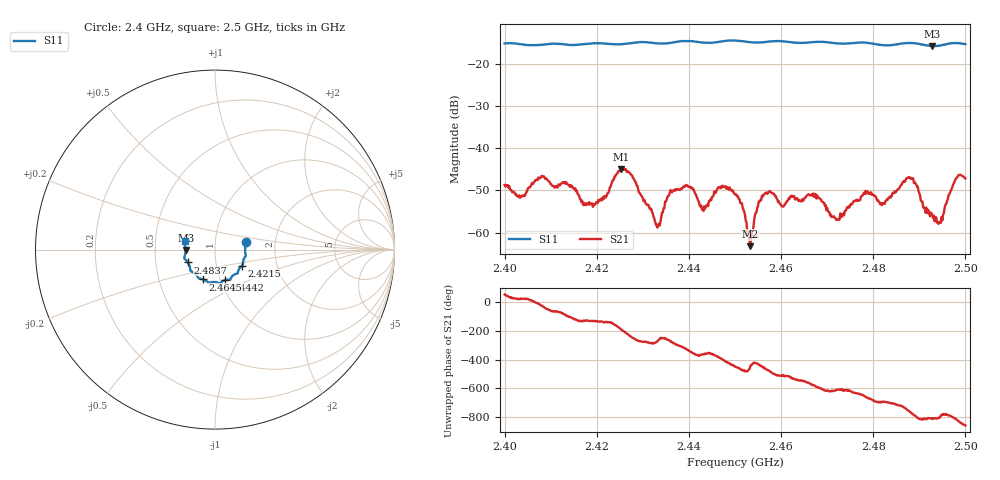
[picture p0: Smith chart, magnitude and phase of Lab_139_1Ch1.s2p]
# Hz S RI R 50
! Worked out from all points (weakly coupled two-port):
!   601 points, 2.4 GHz to 2.5 GHz, reference 50 ohm
!   highest |S21| = -44.90 dB at 2.4253 GHz (marker M1); lowest = -63.2 dB at 2.4533 GHz (marker M2)
!   lowest |S11| = -15.7 dB at 2.4928 GHz (marker M3), VSWR 1.39, Z = 36 - j0.369 ohm
!   |S11| at or under -10 dB: start of sweep to end of sweep
!   S12 and S22 are empty: the file has one direction only
!   S11 on the Smith chart (normalised r, x): 2.4 GHz: 1.41, +0.12; 2.4215 GHz: 1.33, -0.25; 2.4442 GHz: 1.05, -0.37; 2.4645 GHz: 0.83, -0.29; 2.4837 GHz: 0.73, -0.11; 2.5 GHz: 0.71, +0.07
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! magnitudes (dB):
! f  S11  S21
! 2.4 GHz  -15.1  -48.7
! 2.4038 GHz  -15.3  -51.4
! 2.4085 GHz  -15.4  -46.6
! 2.4167 GHz  -15.3  -52.8
! 2.4215 GHz  -15.1  -52.0
! 2.4253 GHz  -15.3  -44.9
! 2.4333 GHz  -15.1  -58.1
! 2.4365 GHz  -14.9  -50.2
! 2.4442 GHz  -15.0  -53.8
! 2.45 GHz  -14.4  -50.9
! 2.4533 GHz  -14.8  -63.2
! 2.4563 GHz  -14.8  -51.0
! 2.4645 GHz  -15.0  -52.6
! 2.4667 GHz  -14.8  -50.9
! 2.4722 GHz  -15.1  -57.0
! 2.4783 GHz  -14.9  -50.1
! 2.4833 GHz  -15.6  -51.8
! 2.4837 GHz  -15.5  -51.4
! 2.4882 GHz  -15.0  -47.3
! 2.4928 GHz  -15.7  -55.9
! 2.4945 GHz  -15.6  -57.7
! 2.5 GHz  -15.3  -47.2
